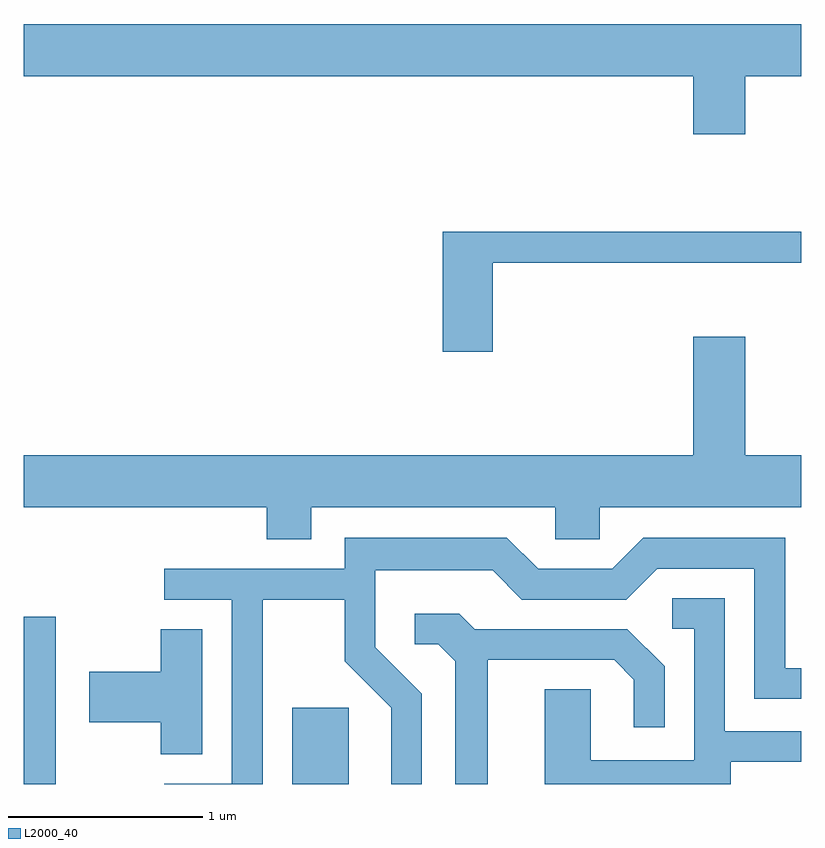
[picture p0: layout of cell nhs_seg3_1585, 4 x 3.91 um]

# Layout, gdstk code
import gdstk
lib = gdstk.Library(unit=1e-6, precision=1e-09)
def R(c, l, rs):  # rectangles x0, y0, x1, y1
    for r in rs: c.add(gdstk.rectangle(r[:2], r[2:], *l))
def P(c, l, *ps):  # polygons
    for p in ps: c.add(gdstk.Polygon(p, *l))
L2000_40 = (2000, 40)

nhs_seg3_1585 = lib.new_cell('nhs_seg3_1585')
R(nhs_seg3_1585, L2000_40, [(231.611,1157.892,231.774,1158.754), (232.991,1157.892,233.284,1158.284)])
P(nhs_seg3_1585, L2000_40, [(235.324,1161.536),(235.611,1161.536),(235.611,1161.804),(231.611,1161.804),(231.611,1161.536),(235.056,1161.536),(235.056,1161.236),(235.324,1161.236)],
  [(234.024,1160.576),(235.611,1160.576),(235.611,1160.734),(233.766,1160.734),(233.766,1160.116),(234.024,1160.116)],
  [(233.089,1159.316),(234.346,1159.316),(234.346,1159.151),(234.574,1159.151),(234.574,1159.316),(235.611,1159.316),(235.611,1159.584),(235.324,1159.584),(235.324,1160.194),(235.056,1160.194),(235.056,1159.584),(231.611,1159.584),(231.611,1159.316),(232.861,1159.316),(232.861,1159.151),(233.089,1159.151)],
  [(232.839,1158.841),(233.261,1158.841),(233.261,1158.524),(233.501,1158.284),(233.501,1157.892),(233.659,1157.892),(233.659,1158.357),(233.419,1158.597),(233.419,1158.991),(234.024,1158.991),(234.174,1158.841),(234.712,1158.841),(234.872,1159.001),(235.371,1159.001),(235.371,1158.331),(235.611,1158.331),(235.611,1158.489),(235.529,1158.489),(235.529,1159.159),(234.799,1159.159),(234.639,1158.999),(234.257,1158.999),(234.097,1159.159),(233.261,1159.159),(233.261,1158.999),(232.333,1158.999),(232.333,1158.841),(232.681,1158.841),(232.681,1157.894),(232.333,1157.894),(232.333,1157.892),(232.839,1157.892)],
  [(235.249,1158.006),(235.611,1158.006),(235.611,1158.164),(235.219,1158.164),(235.219,1158.849),(234.948,1158.849),(234.948,1158.691),(235.061,1158.691),(235.061,1158.014),(234.529,1158.014),(234.529,1158.379),(234.291,1158.379),(234.291,1157.892),(235.249,1157.892)],
  [(233.999,1158.531),(234.649,1158.531),(234.751,1158.429),(234.751,1158.183),(234.909,1158.183),(234.909,1158.497),(234.717,1158.689),(233.932,1158.689),(233.852,1158.769),(233.623,1158.769),(233.623,1158.611),(233.744,1158.611),(233.831,1158.524),(233.831,1157.892),(233.999,1157.892)],
  [(232.529,1158.689),(232.316,1158.689),(232.316,1158.469),(231.946,1158.469),(231.946,1158.211),(232.316,1158.211),(232.316,1158.046),(232.529,1158.046)])

lib.write_gds('nhs_seg3_1585.gds')
